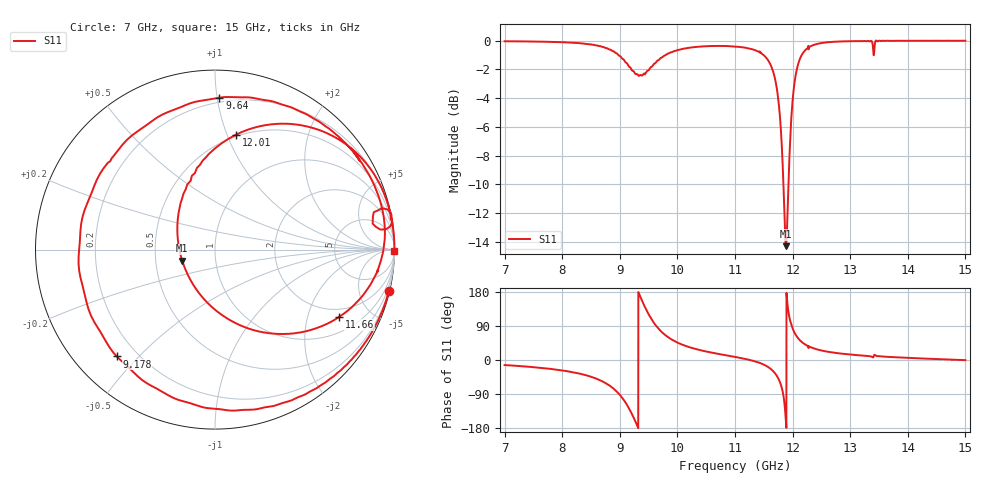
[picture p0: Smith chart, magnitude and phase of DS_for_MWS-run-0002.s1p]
! TOUCHSTONE file generated by CST DESIGN STUDIO
! Date and time: Mon Feb 10 16:48:56 2025
! Project name: C:\Work\MatlabApps\UnitCellType2OptimizationMatlab\CST\unitcell.cst
! Tree item: Tasks\Sweep1\SPara1\S-Parameters
! Header version: 2024
! Port assignment regex: !\s*Touchstone port\s*([0-9]+)\s*=\s*(CST MWS port|CST DES external port|CST DES block port)\s*(.+)\s* \(\"(.*)\"\)(\s*mode\s*([0-9]+))?.*
! Touchstone port assignment:
! Touchstone port 1 = CST DES external port 1 ("")
# GHz S MA R 50
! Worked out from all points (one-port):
!   4001 points, 7 GHz to 15 GHz, reference 50 ohm
!   lowest |S11| = -14.3 dB at 11.88 GHz (marker M1), VSWR 1.48, Z = 34.3 - j4.37 ohm
!   |S11| at or under -10 dB: 11.84 GHz to 11.93 GHz (86.19 MHz wide, 0.725 % of centre)
!   S11 on the Smith chart (normalised r, x): 7 GHz: 0.18, -8.52; 9.178 GHz: 0.13, -0.43; 9.64 GHz: 0.17, +1.01; 11.66 GHz: 1.62, -3.20; 12.01 GHz: 0.48, +1.08; 15 GHz: open
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7  0.9952 -13.4
8  0.9873 -27.5
8.624  0.9596 -51.3
8.83  0.9321 -68.3
9  0.8854 -91.7
9.094  0.8433 -110.8
9.178  0.8086 -132.6
9.278  0.7649 -164.7
9.37  0.7585 162.1
9.504  0.7903 119.5
9.64  0.847 88.4
9.806  0.8941 63.8
10  0.9276 46.0
10.384  0.9533 26.5
11  0.9546 8.1
11.438  0.9139 -7.9
11.656  0.7877 -28.4
11.79  0.5126 -62.4
11.836  0.3356 -89.8
11.884  0.1927 -161.5
11.934  0.3479 121.0
12  0.6192 83.4
12.01  0.6508 79.6
12.136  0.8729 50.7
12.294  0.9516 35.0
13  0.9958 14.5
14  0.9988 5.6
15  0.9995 -0.4
